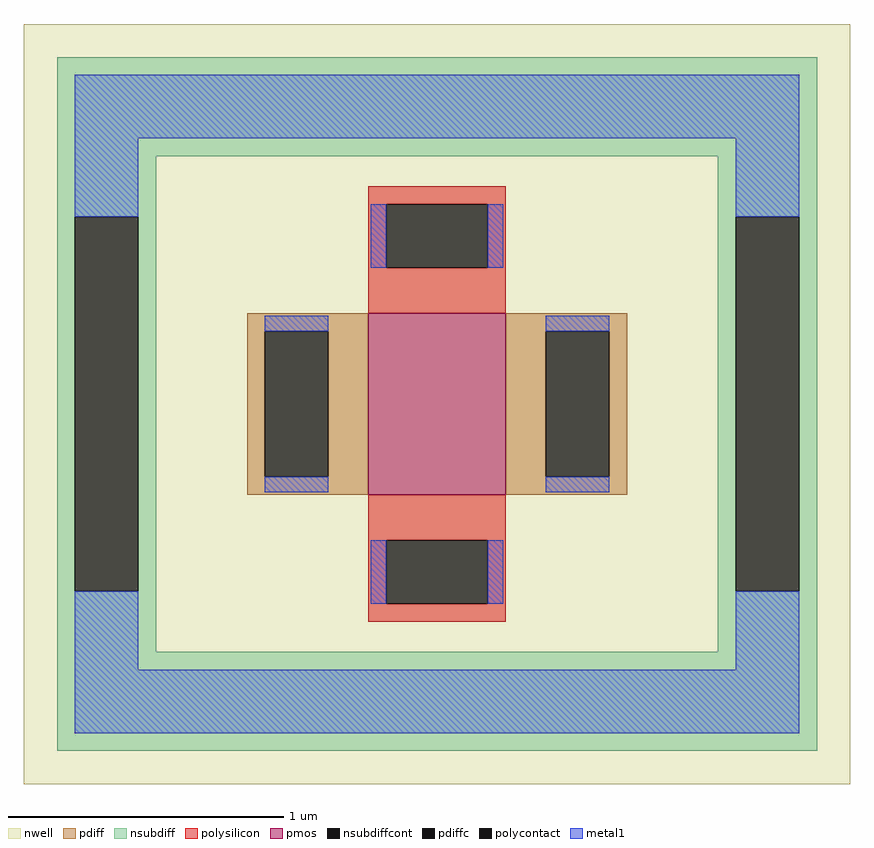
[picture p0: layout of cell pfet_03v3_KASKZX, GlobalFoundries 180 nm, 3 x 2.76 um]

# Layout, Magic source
magic
tech gf180mcuD
magscale 1 10
<< nwell >>
rect -300 -276 300 276
<< pmos >>
rect -50 -66 50 66
<< pdiff >>
rect -138 53 -50 66
rect -138 -53 -125 53
rect -79 -53 -50 53
rect -138 -66 -50 -53
rect 50 53 138 66
rect 50 -53 79 53
rect 125 -53 138 53
rect 50 -66 138 -53
<< pdiffc >>
rect -125 -53 -79 53
rect 79 -53 125 53
<< nsubdiff >>
rect -276 180 276 252
rect -276 136 -204 180
rect -276 -136 -263 136
rect -217 -136 -204 136
rect 204 136 276 180
rect -276 -180 -204 -136
rect 204 -136 217 136
rect 263 -136 276 136
rect 204 -180 276 -136
rect -276 -252 276 -180
<< nsubdiffcont >>
rect -263 -136 -217 136
rect 217 -136 263 136
<< polysilicon >>
rect -50 145 50 158
rect -50 99 -37 145
rect 37 99 50 145
rect -50 66 50 99
rect -50 -99 50 -66
rect -50 -145 -37 -99
rect 37 -145 50 -99
rect -50 -158 50 -145
<< polycontact >>
rect -37 99 37 145
rect -37 -145 37 -99
<< metal1 >>
rect -263 193 263 239
rect -263 136 -217 193
rect -48 99 -37 145
rect 37 99 48 145
rect 217 136 263 193
rect -125 53 -79 64
rect -125 -64 -79 -53
rect 79 53 125 64
rect 79 -64 125 -53
rect -263 -193 -217 -136
rect -48 -145 -37 -99
rect 37 -145 48 -99
rect 217 -193 263 -136
rect -263 -239 263 -193
<< properties >>
string FIXED_BBOX -240 -216 240 216
string gencell pfet_03v3
string library gf180mcu
string parameters w 0.660 l 0.50 m 1 nf 1 diffcov 100 polycov 100 guard 1 glc 1 grc 1 gtc 0 gbc 0 tbcov 100 rlcov 100 topc 1 botc 1 poverlap 0 doverlap 1 lmin 0.28 wmin 0.22 class mosfet full_metal 1 compatible {pfet_03v3 pfet_06v0}
<< end >>
